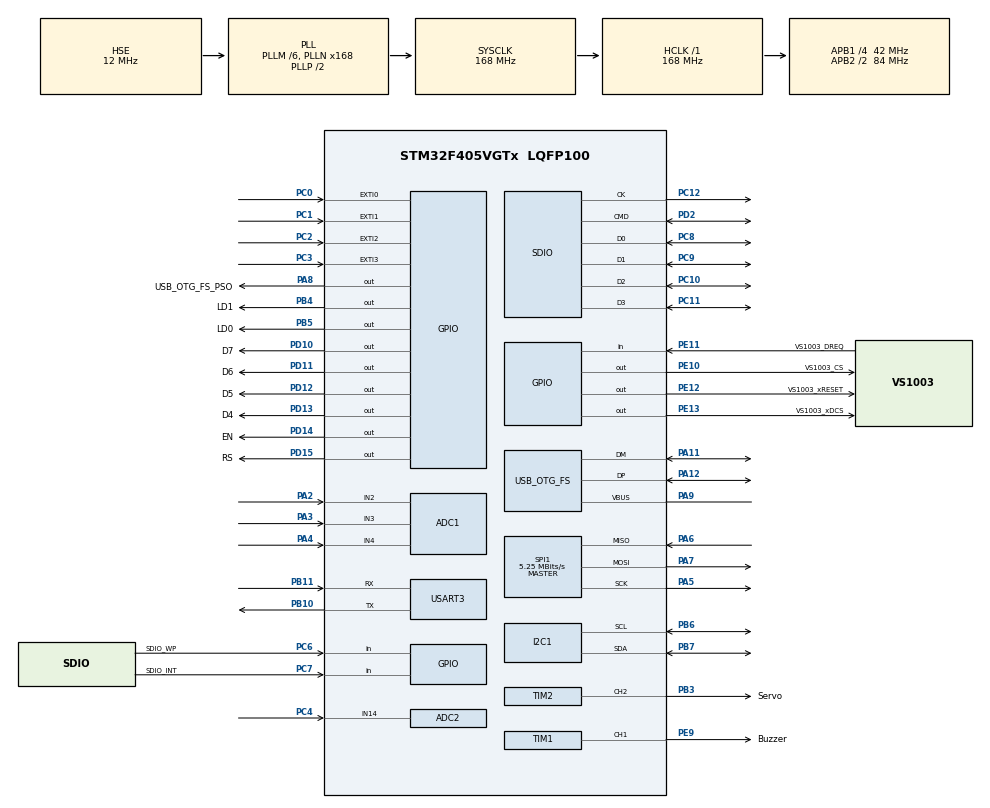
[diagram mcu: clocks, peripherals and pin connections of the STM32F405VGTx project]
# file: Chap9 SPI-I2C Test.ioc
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ADC1.Channel-0\#ChannelRegularConversion=ADC_CHANNEL_2
ADC1.Channel-1\#ChannelRegularConversion=ADC_CHANNEL_3
ADC1.Channel-2\#ChannelRegularConversion=ADC_CHANNEL_4
ADC1.ClockPrescaler=ADC_CLOCK_SYNC_PCLK_DIV4
ADC1.ContinuousConvMode=ENABLE
ADC1.DMAContinuousRequests=ENABLE
ADC1.DiscontinuousConvMode=DISABLE
ADC1.EnableAnalogWatchDog=false
ADC1.InjNumberOfConversion=0
ADC1.NbrOfConversion=3
ADC1.NbrOfConversionFlag=1
ADC1.Rank-0\#ChannelRegularConversion=1
ADC1.Rank-1\#ChannelRegularConversion=2
ADC1.Rank-2\#ChannelRegularConversion=3
ADC1.SamplingTime-0\#ChannelRegularConversion=ADC_SAMPLETIME_84CYCLES
ADC1.SamplingTime-1\#ChannelRegularConversion=ADC_SAMPLETIME_84CYCLES
ADC1.SamplingTime-2\#ChannelRegularConversion=ADC_SAMPLETIME_84CYCLES
ADC1.ScanConvMode=ENABLE
ADC1.master=1
ADC2.Channel-1\#ChannelRegularConversion=ADC_CHANNEL_14
ADC2.ClockPrescaler=ADC_CLOCK_SYNC_PCLK_DIV4
ADC2.ContinuousConvMode=ENABLE
ADC2.DMAContinuousRequests=ENABLE
ADC2.NbrOfConversionFlag=1
ADC2.Rank-1\#ChannelRegularConversion=1
ADC2.SamplingTime-1\#ChannelRegularConversion=ADC_SAMPLETIME_84CYCLES
ADC2.ScanConvMode=DISABLE
Dma.ADC1.0.Direction=DMA_PERIPH_TO_MEMORY
Dma.ADC1.0.FIFOMode=DMA_FIFOMODE_DISABLE
Dma.ADC1.0.Instance=DMA2_Stream0
Dma.ADC1.0.MemDataAlignment=DMA_MDATAALIGN_HALFWORD
Dma.ADC1.0.MemInc=DMA_MINC_ENABLE
Dma.ADC1.0.Mode=DMA_CIRCULAR
Dma.ADC1.0.PeriphDataAlignment=DMA_PDATAALIGN_HALFWORD
Dma.ADC1.0.PeriphInc=DMA_PINC_DISABLE
Dma.ADC1.0.Priority=DMA_PRIORITY_LOW
Dma.ADC2.1.Direction=DMA_PERIPH_TO_MEMORY
Dma.ADC2.1.FIFOMode=DMA_FIFOMODE_DISABLE
Dma.ADC2.1.Instance=DMA2_Stream2
Dma.ADC2.1.MemDataAlignment=DMA_MDATAALIGN_HALFWORD
Dma.ADC2.1.MemInc=DMA_MINC_DISABLE
Dma.ADC2.1.Mode=DMA_CIRCULAR
Dma.ADC2.1.PeriphDataAlignment=DMA_PDATAALIGN_HALFWORD
Dma.ADC2.1.PeriphInc=DMA_PINC_DISABLE
Dma.ADC2.1.Priority=DMA_PRIORITY_LOW
Dma.Request0=ADC1
Dma.Request1=ADC2
Dma.Request2=SDIO_RX
Dma.Request3=SDIO_TX
Dma.SDIO_RX.2.Direction=DMA_PERIPH_TO_MEMORY
Dma.SDIO_RX.2.FIFOMode=DMA_FIFOMODE_ENABLE
Dma.SDIO_RX.2.FIFOThreshold=DMA_FIFO_THRESHOLD_FULL
Dma.SDIO_RX.2.Instance=DMA2_Stream3
Dma.SDIO_RX.2.MemBurst=DMA_MBURST_INC4
Dma.SDIO_RX.2.MemDataAlignment=DMA_MDATAALIGN_WORD
Dma.SDIO_RX.2.MemInc=DMA_MINC_ENABLE
Dma.SDIO_RX.2.Mode=DMA_PFCTRL
Dma.SDIO_RX.2.PeriphBurst=DMA_PBURST_INC4
Dma.SDIO_RX.2.PeriphDataAlignment=DMA_PDATAALIGN_WORD
Dma.SDIO_RX.2.PeriphInc=DMA_PINC_DISABLE
Dma.SDIO_RX.2.Priority=DMA_PRIORITY_LOW
Dma.SDIO_TX.3.Direction=DMA_MEMORY_TO_PERIPH
Dma.SDIO_TX.3.FIFOMode=DMA_FIFOMODE_ENABLE
Dma.SDIO_TX.3.FIFOThreshold=DMA_FIFO_THRESHOLD_FULL
Dma.SDIO_TX.3.Instance=DMA2_Stream6
Dma.SDIO_TX.3.MemBurst=DMA_MBURST_INC4
Dma.SDIO_TX.3.MemDataAlignment=DMA_MDATAALIGN_WORD
Dma.SDIO_TX.3.MemInc=DMA_MINC_ENABLE
Dma.SDIO_TX.3.Mode=DMA_PFCTRL
Dma.SDIO_TX.3.PeriphBurst=DMA_PBURST_INC4
Dma.SDIO_TX.3.PeriphDataAlignment=DMA_PDATAALIGN_WORD
Dma.SDIO_TX.3.PeriphInc=DMA_PINC_DISABLE
Dma.SDIO_TX.3.Priority=DMA_PRIORITY_LOW
FATFS.USE_DMA_CODE_SD=1
FATFS._MAX_SS=4096
FATFS._USE_LFN=1
I2C1.I2C_Mode=I2C_Fast
Mcu.Family=STM32F4
Mcu.Name=STM32F405VGTx
Mcu.Package=LQFP100
NVIC.DMA2_Stream0_IRQn=true\:0\:0\:false\:false\:true\:false\:true\:true
NVIC.DMA2_Stream2_IRQn=true\:0\:0\:false\:false\:true\:false\:true\:true
NVIC.DMA2_Stream3_IRQn=true\:0\:0\:false\:false\:true\:false\:true\:true
NVIC.DMA2_Stream6_IRQn=true\:0\:0\:false\:false\:true\:false\:true\:true
NVIC.EXTI0_IRQn=true\:0\:0\:false\:true\:true\:1\:true\:true\:true
NVIC.EXTI1_IRQn=true\:0\:0\:false\:true\:true\:2\:true\:true\:true
NVIC.EXTI2_IRQn=true\:0\:0\:false\:true\:true\:3\:true\:true\:true
NVIC.EXTI3_IRQn=true\:0\:0\:false\:true\:true\:7\:true\:true\:true
NVIC.OTG_FS_IRQn=true\:0\:0\:false\:false\:true\:false\:true\:true
NVIC.PriorityGroup=NVIC_PRIORITYGROUP_4
NVIC.SDIO_IRQn=true\:0\:0\:false\:false\:true\:true\:true\:true
NVIC.TIM6_DAC_IRQn=true\:0\:0\:false\:true\:true\:5\:true\:true\:true
NVIC.TIM7_IRQn=true\:0\:0\:false\:true\:true\:6\:true\:true\:true
NVIC.USART3_IRQn=true\:0\:0\:false\:true\:true\:4\:true\:true\:true
PA11.Mode=Host_Only
PA11.Signal=USB_OTG_FS_DM
PA12.Mode=Host_Only
PA12.Signal=USB_OTG_FS_DP
PA2.Signal=ADCx_IN2
PA3.Signal=ADCx_IN3
PA4.Signal=ADCx_IN4
PA5.Mode=Full_Duplex_Master
PA5.Signal=SPI1_SCK
PA6.Mode=Full_Duplex_Master
PA6.Signal=SPI1_MISO
PA7.Mode=Full_Duplex_Master
PA7.Signal=SPI1_MOSI
PA8.GPIO_Label=USB_OTG_FS_PSO
PA8.Signal=GPIO_Output
PA9.Mode=Activate_VBUS
PA9.Signal=USB_OTG_FS_VBUS
PB10.Mode=Asynchronous
PB10.Signal=USART3_TX
PB11.Mode=Asynchronous
PB11.Signal=USART3_RX
PB3.GPIO_Label=Servo
PB3.Signal=S_TIM2_CH2
PB4.GPIO_Label=LD1
PB4.Signal=GPIO_Output
PB5.GPIO_Label=LD0
PB5.Signal=GPIO_Output
PB6.Mode=I2C
PB6.Signal=I2C1_SCL
PB7.Mode=I2C
PB7.Signal=I2C1_SDA
PC0.GPIO_ModeDefaultEXTI=GPIO_MODE_IT_FALLING
PC0.Signal=GPXTI0
PC1.GPIO_ModeDefaultEXTI=GPIO_MODE_IT_FALLING
PC1.Signal=GPXTI1
PC10.Mode=SD_4_bits_Wide_bus
PC10.Signal=SDIO_D2
PC11.Mode=SD_4_bits_Wide_bus
PC11.Signal=SDIO_D3
PC12.Mode=SD_4_bits_Wide_bus
PC12.Signal=SDIO_CK
PC2.GPIO_ModeDefaultEXTI=GPIO_MODE_IT_FALLING
PC2.Signal=GPXTI2
PC3.Signal=GPXTI3
PC4.Signal=ADCx_IN14
PC6.GPIO_Label=SDIO_WP
PC6.Signal=GPIO_Input
PC7.GPIO_Label=SDIO_INT
PC7.Signal=GPIO_Input
PC8.Mode=SD_4_bits_Wide_bus
PC8.Signal=SDIO_D0
PC9.Mode=SD_4_bits_Wide_bus
PC9.Signal=SDIO_D1
PD10.GPIO_Label=D7
PD10.Signal=GPIO_Output
PD11.GPIO_Label=D6
PD11.Signal=GPIO_Output
PD12.GPIO_Label=D5
PD12.Signal=GPIO_Output
PD13.GPIO_Label=D4
PD13.Signal=GPIO_Output
PD14.GPIO_Label=EN
PD14.Signal=GPIO_Output
PD15.GPIO_Label=RS
PD15.Signal=GPIO_Output
PD2.Mode=SD_4_bits_Wide_bus
PD2.Signal=SDIO_CMD
PE10.GPIO_Label=VS1003_CS
PE10.Signal=GPIO_Output
PE11.GPIO_Label=VS1003_DREQ
PE11.Signal=GPIO_Input
PE12.GPIO_Label=VS1003_xRESET
PE12.Signal=GPIO_Output
PE13.GPIO_Label=VS1003_xDCS
PE13.Signal=GPIO_Output
PE9.GPIO_Label=Buzzer
PE9.Signal=S_TIM1_CH1
PH0-OSC_IN.Mode=HSE-External-Oscillator
PH0-OSC_IN.Signal=RCC_OSC_IN
PH1-OSC_OUT.Mode=HSE-External-Oscillator
PH1-OSC_OUT.Signal=RCC_OSC_OUT
ProjectManager.HeapSize=0x200
ProjectManager.StackSize=0x400
ProjectManager.TargetToolchain=STM32CubeIDE
RCC.48MHZClocksFreq_Value=48000000
RCC.AHBFreq_Value=168000000
RCC.APB1CLKDivider=RCC_HCLK_DIV4
RCC.APB1Freq_Value=42000000
RCC.APB1TimFreq_Value=84000000
RCC.APB2CLKDivider=RCC_HCLK_DIV2
RCC.APB2Freq_Value=84000000
RCC.APB2TimFreq_Value=168000000
RCC.CortexFreq_Value=168000000
RCC.HCLKFreq_Value=168000000
RCC.HSE_VALUE=12000000
RCC.HSI_VALUE=16000000
RCC.LSE_VALUE=32768
RCC.PLLM=6
RCC.PLLN=168
RCC.PLLQ=7
RCC.SYSCLKFreq_VALUE=168000000
RCC.SYSCLKSource=RCC_SYSCLKSOURCE_PLLCLK
RCC.VCOOutputFreq_Value=336000000
SH.ADCx_IN14.0=ADC2_IN14,IN14
SH.ADCx_IN2.0=ADC1_IN2,IN2
SH.ADCx_IN3.0=ADC1_IN3,IN3
SH.ADCx_IN4.0=ADC1_IN4,IN4
SH.S_TIM1_CH1.0=TIM1_CH1,PWM Generation1 CH1
SH.S_TIM2_CH2.0=TIM2_CH2,PWM Generation2 CH2
SPI1.BaudRatePrescaler=SPI_BAUDRATEPRESCALER_16
SPI1.CalculateBaudRate=5.25 MBits/s
SPI1.Direction=SPI_DIRECTION_2LINES
SPI1.Mode=SPI_MODE_MASTER
SPI1.VirtualType=VM_MASTER
TIM1.Channel-PWM\ Generation1\ CH1=TIM_CHANNEL_1
TIM1.Period=999
TIM1.Prescaler=167
TIM1.Pulse-PWM\ Generation1\ CH1=500
TIM2.Channel-PWM\ Generation2\ CH2=TIM_CHANNEL_2
TIM2.Period=10000-1
TIM2.Prescaler=168-1
TIM2.Pulse-PWM\ Generation2\ CH2=100
TIM4.Prescaler=83
TIM6.AutoReloadPreload=TIM_AUTORELOAD_PRELOAD_DISABLE
TIM6.Period=10000-1
TIM6.Prescaler=8400-1
TIM7.Period=9999
TIM7.Prescaler=4200-1
USART3.VirtualMode=VM_ASYNC
USB_HOST.USBH_HandleTypeDef-MSC_FS=hUsbHostFS
USB_HOST.VirtualModeFS=Msc
USB_OTG_FS.Sof_enable=DISABLE
USB_OTG_FS.VirtualMode=Host_Only
USB_OTG_FS.phy_itface=HCD_PHY_EMBEDDED
VP_FATFS_VS_SDIO.Mode=SDIO
VP_FATFS_VS_USB.Mode=USB
VP_TIM1_VS_ClockSourceINT.Mode=Internal
VP_TIM2_VS_ClockSourceINT.Mode=Internal
VP_TIM4_VS_ClockSourceINT.Mode=Internal
VP_TIM6_VS_ClockSourceINT.Mode=Enable_Timer
VP_TIM7_VS_ClockSourceINT.Mode=Enable_Timer
VP_USB_HOST_VS_USB_HOST_MSC_FS.Mode=MSC_FS
board=custom

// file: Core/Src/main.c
/* USER CODE BEGIN Header */
/**
  ******************************************************************************
  * @file           : main.c
  * @brief          : Main program body
  ******************************************************************************
  * @attention
  *
  * Copyright (c) 2025 STMicroelectronics.
  * All rights reserved.
  *
  * This software is licensed under terms that can be found in the LICENSE file
  * in the root directory of this software component.
  * If no LICENSE file comes with this software, it is provided AS-IS.
  *
  ******************************************************************************
  */
/* USER CODE END Header */
#include "main.h"
#include "adc.h"
#include "dma.h"
#include "fatfs.h"
#include "i2c.h"
#include "sdio.h"
#include "spi.h"
#include "tim.h"
#include "usart.h"
#include "usb_host.h"
#include "gpio.h"

/* USER CODE BEGIN Includes */
#include "stdio.h"
#include "string.h"
#include "CLCD.h"
#include "VS1003.h"
#include "AS6221.h"

/* USER CODE END Includes */

/* USER CODE BEGIN PD */
#define AS6221_ADDR1        (0x48 << 1)
#define AS6221_ADDR2        (0x49 << 1)

/* USER CODE END PD */

/* USER CODE BEGIN PM */
int _write(int file, char* p, int len){
	HAL_UART_Transmit(&huart3, p, len, 10);
	return len;
}

/* USER CODE END PM */

/* USER CODE BEGIN PV */
uint8_t rx_data = 0;
uint8_t lcd_flag = 0;

uint16_t adc1_val[3] = {0,};
uint16_t adc2_val = 0;

volatile uint8_t sw0_flag = 0;
volatile uint8_t sw1_flag = 0;
volatile uint8_t sw2_flag = 0;
volatile uint8_t sw3_flag = 0;

uint32_t bytesWritten, bytesRead;
extern ApplicationTypeDef Appli_state;

uint8_t NEXT = 0;

uint8_t str[21];

AS6221_t as6221[2];

/* USER CODE END PV */

void SystemClock_Config(void);
static void MX_NVIC_Init(void);
void MX_USB_HOST_Process(void);

/* USER CODE BEGIN 0 */
long map(long x, long in_min, long in_max, long out_min, long out_max) {
  return (x - in_min) * (out_max - out_min) / (in_max - in_min) + out_min;
}

/* USER CODE END 0 */

int main(void)
{

  /* MCU Configuration--------------------------------------------------------*/

  /* Reset of all peripherals, Initializes the Flash interface and the Systick. */
  HAL_Init();

  /* Configure the system clock */
  SystemClock_Config();

  /* Initialize all configured peripherals */
  MX_GPIO_Init();
  MX_DMA_Init();
  MX_USART3_UART_Init();
  MX_TIM4_Init();
  MX_ADC1_Init();
  MX_ADC2_Init();
  MX_TIM1_Init();
  MX_TIM6_Init();
  MX_TIM7_Init();
  MX_TIM2_Init();
  MX_FATFS_Init();
  MX_USB_HOST_Init();
  MX_SDIO_SD_Init();
  MX_SPI1_Init();
  MX_I2C1_Init();

  /* Initialize interrupts */
  MX_NVIC_Init();
  /* USER CODE BEGIN 2 */
  HAL_TIM_Base_Start_IT(&htim6);
//  HAL_TIM_Base_Start_IT(&htim7);

  lcd_Init(20, 4);
  lcd_clear();

  as6221[0].address = AS6221_ADDR1;
  as6221[0].CR = ConvPer125ms;
  as6221[0].CF = Quadruple;
  as6221[0].SM = false;
  as6221[0].IM = false;
  as6221[0].POL = false;
  as6221[0].SS = false;

  as6221[1] = as6221[0];
  as6221[1].address = AS6221_ADDR2;

  AS6221_Init(&as6221[0]);
  AS6221_Init(&as6221[1]);

  BYTE buf[32];
  uint32_t bw, br;

  VS1003_Init();
  VS1003_SoftReset();

  // 1. SD "0" 드라이브 할당 시도
  if((retSD = f_mount(&SDFatFS, &SDPath[0], 1)) == FR_OK)
  {
	  sprintf(str, "f_mount OK %d", retSD);
	  lcd_setCurStr(0, 0, str);
  }
  else
  {
	  sprintf(str, "f_mount failed %d", retSD);
		  lcd_setCurStr(0, 0, str);
  }
  HAL_Delay(1000);
  lcd_clear();

  unsigned char filename[20] = "0:/1.mp3";
    uint16_t index = 0;

  // 2 파일 생성 및 쓰기
    if((retSD = f_open(&SDFile, filename, FA_OPEN_EXISTING | FA_READ)) == FR_OK)
    {
  	  sprintf(str, "%s opened", filename);
  	  lcd_setCurStr(0, 0, str);
    }
    else
    {
  	  sprintf(str, "open error %d\n", retSD);
  	  lcd_setCurStr(0, 0, str);
    }

    uint8_t pp_flag = false;

  /* USER CODE END 2 */

  /* Infinite loop */
  while (1)
  {
    MX_USB_HOST_Process();

    /* USER CODE BEGIN 3 */

    if(lcd_flag) {
		  lcd_flag = 0;

		  AS6221_ReadTemperature(&as6221[0]);
		  AS6221_ReadTemperature(&as6221[1]);

		  sprintf(str, "Temp1: %.3fC", as6221[0].Temp);
		  lcd_setCurStr(0, 2, str);

		  sprintf(str, "Temp2: %.3fC", as6221[1].Temp);
		  lcd_setCurStr(0, 3, str);
	  }

	  if(MP3_DREQ == 1)
	  {
		  if(pp_flag)
		  {
	        f_read(&SDFile, buf, 32, &br);
	        if(br >= 32)
	        {
	           VS1003_WriteData(&buf[0]);
	        }
	        else
	        {
	        	if(NEXT)
	        	{
	        	index = index == 3 ? 0 : index + 1;
              switch(index)
	            {
              	case 0: strcpy(filename, "0:/1.mp3"); break;
	        	case 1: strcpy(filename, "0:/2.mp3"); break;
	        	case 2: strcpy(filename, "0:/3.mp3"); break;
	        	case 3: strcpy(filename, "0:/4.mp3"); break;
	            }

              f_close(&SDFile);

	        	if((retSD = f_open(&SDFile, filename, FA_OPEN_EXISTING | FA_READ)) == FR_OK)
	        	{
	        		sprintf(str, "%s opende", filename);
	        		lcd_setCurStr(0, 0, str);
	        	}
	        	else
	        	{

	        	}
	        	}
	        }
	     }
	 }

	  if(sw0_flag)
	  {
		  sw0_flag = 0;

		  index = index == 0 ? 3 : index - 1;
		  switch(index)
		  {
		  case 0: strcpy(filename, "0:/1.mp3"); break;
		  case 1: strcpy(filename, "0:/2.mp3"); break;
		  case 2: strcpy(filename, "0:/3.mp3"); break;
		  case 3: strcpy(filename, "0:/4.mp3"); break;
		  }

		  f_close(&SDFile);

		  if((retSD = f_open(&SDFile, filename, FA_OPEN_EXISTING | FA_READ)) == FR_OK)
		  {
			  sprintf(str, "%s opende", filename);
			  lcd_setCurStr(0, 0, str);
		  }
		  else
		  {
			  sprintf(str, "open error %d", retSD);
			  lcd_setCurStr(0, 0, str);
		  }

		  VS1003_SoftReset();
	  }

	  if(sw2_flag)
	  	  {
	  		  HAL_Delay(10);
	  		  sw2_flag = 0;
	  		index = index == 3 ? 0 : index + 1;
	  				  switch(index)
	  				  {
	  				  case 0: strcpy(filename, "0:/1.mp3"); break;
	  				  case 1: strcpy(filename, "0:/2.mp3"); break;
	  				  case 2: strcpy(filename, "0:/3.mp3"); break;
	  				  case 3: strcpy(filename, "0:/4.mp3"); break;
	  				  }
	  				  f_close(&SDFile);

	  				  if((retSD = f_open(&SDFile, filename, FA_OPEN_EXISTING | FA_READ)) == FR_OK)
	  				  {
	  					  sprintf(str, "%s opende", filename);
	  					  lcd_setCurStr(0, 0, str);
	  				  }
	  				  else
	  				  {
	  					  sprintf(str, "open error %d", retSD);
	  					  lcd_setCurStr(0, 0, str);
	  				  }

	  				  VS1003_SoftReset();
	  	  }

	  if(sw1_flag)
	  {
		  sw1_flag = 0;
		  HAL_Delay(100);
		  if(pp_flag)
		  {
			  pp_flag = 0;
			  lcd_setCurStr(0, 1, "paused");
		  }
		  else
		  {
			  pp_flag = 1;
			  lcd_setCurStr(0, 1, "playing");
		  }
	  }
  }
  /* USER CODE END 3 */
}

void SystemClock_Config(void)
{
  RCC_OscInitTypeDef RCC_OscInitStruct = {0};
  RCC_ClkInitTypeDef RCC_ClkInitStruct = {0};

  /** Configure the main internal regulator output voltage
  */
  __HAL_RCC_PWR_CLK_ENABLE();
  __HAL_PWR_VOLTAGESCALING_CONFIG(PWR_REGULATOR_VOLTAGE_SCALE1);

  /** Initializes the RCC Oscillators according to the specified parameters
  * in the RCC_OscInitTypeDef structure.
  */
  RCC_OscInitStruct.OscillatorType = RCC_OSCILLATORTYPE_HSE;
  RCC_OscInitStruct.HSEState = RCC_HSE_ON;
  RCC_OscInitStruct.PLL.PLLState = RCC_PLL_ON;
  RCC_OscInitStruct.PLL.PLLSource = RCC_PLLSOURCE_HSE;
  RCC_OscInitStruct.PLL.PLLM = 6;
  RCC_OscInitStruct.PLL.PLLN = 168;
  RCC_OscInitStruct.PLL.PLLP = RCC_PLLP_DIV2;
  RCC_OscInitStruct.PLL.PLLQ = 7;
  if (HAL_RCC_OscConfig(&RCC_OscInitStruct) != HAL_OK)
  {
    Error_Handler();
  }

  /** Initializes the CPU, AHB and APB buses clocks
  */
  RCC_ClkInitStruct.ClockType = RCC_CLOCKTYPE_HCLK|RCC_CLOCKTYPE_SYSCLK
                              |RCC_CLOCKTYPE_PCLK1|RCC_CLOCKTYPE_PCLK2;
  RCC_ClkInitStruct.SYSCLKSource = RCC_SYSCLKSOURCE_PLLCLK;
  RCC_ClkInitStruct.AHBCLKDivider = RCC_SYSCLK_DIV1;
  RCC_ClkInitStruct.APB1CLKDivider = RCC_HCLK_DIV4;
  RCC_ClkInitStruct.APB2CLKDivider = RCC_HCLK_DIV2;

  if (HAL_RCC_ClockConfig(&RCC_ClkInitStruct, FLASH_LATENCY_5) != HAL_OK)
  {
    Error_Handler();
  }
}

/**
  * @brief NVIC Configuration.
  * @retval None
  */
static void MX_NVIC_Init(void)
{
  /* EXTI0_IRQn interrupt configuration */
  HAL_NVIC_SetPriority(EXTI0_IRQn, 0, 0);
  HAL_NVIC_EnableIRQ(EXTI0_IRQn);
  /* EXTI1_IRQn interrupt configuration */
  HAL_NVIC_SetPriority(EXTI1_IRQn, 0, 0);
  HAL_NVIC_EnableIRQ(EXTI1_IRQn);
  /* EXTI2_IRQn interrupt configuration */
  HAL_NVIC_SetPriority(EXTI2_IRQn, 0, 0);
  HAL_NVIC_EnableIRQ(EXTI2_IRQn);
  /* USART3_IRQn interrupt configuration */
  HAL_NVIC_SetPriority(USART3_IRQn, 0, 0);
  HAL_NVIC_EnableIRQ(USART3_IRQn);
  /* TIM6_DAC_IRQn interrupt configuration */
  HAL_NVIC_SetPriority(TIM6_DAC_IRQn, 0, 0);
  HAL_NVIC_EnableIRQ(TIM6_DAC_IRQn);
  /* TIM7_IRQn interrupt configuration */
  HAL_NVIC_SetPriority(TIM7_IRQn, 0, 0);
  HAL_NVIC_EnableIRQ(TIM7_IRQn);
  /* EXTI3_IRQn interrupt configuration */
  HAL_NVIC_SetPriority(EXTI3_IRQn, 0, 0);
  HAL_NVIC_EnableIRQ(EXTI3_IRQn);
}

/* USER CODE BEGIN 4 */
void HAL_GPIO_EXTI_Callback(uint16_t GPIO_Pin)
{
	if(GPIO_Pin == GPIO_PIN_0) {
		HAL_GPIO_TogglePin(LD0_GPIO_Port, LD0_Pin);
		sw0_flag = 1;
	}
	else if(GPIO_Pin == GPIO_PIN_1) {
		sw1_flag = 1;
		HAL_GPIO_TogglePin(LD0_GPIO_Port, LD0_Pin);

	}
	else if(GPIO_Pin == GPIO_PIN_2) {
		sw2_flag = 1;
		HAL_GPIO_TogglePin(LD0_GPIO_Port, LD0_Pin);
	}
	else if(GPIO_Pin == GPIO_PIN_3) {
		sw3_flag = 1;
		HAL_GPIO_TogglePin(LD0_GPIO_Port, LD0_Pin);
	}
}

void HAL_UART_RxCpltCallback(UART_HandleTypeDef *huart)
{
	if(huart->Instance == USART3) {
		HAL_UART_Receive_IT(&huart3, &rx_data, 1);
		HAL_UART_Transmit(&huart3, &rx_data, 1, 1000);
	}
}

void HAL_TIM_PeriodElapsedCallback(TIM_HandleTypeDef *htim)
{
	if(htim -> Instance == TIM6) {
		lcd_flag = 1;
	}
	if(htim -> Instance == TIM7) {

	}
}

/* USER CODE END 4 */

void Error_Handler(void)
{
  /* USER CODE BEGIN Error_Handler_Debug */
  /* User can add his own implementation to report the HAL error return state */
  __disable_irq();
  while (1)
  {
	  HAL_GPIO_TogglePin(LD1_GPIO_Port, LD1_Pin);
	  HAL_Delay(1000);
  }
  /* USER CODE END Error_Handler_Debug */
}
